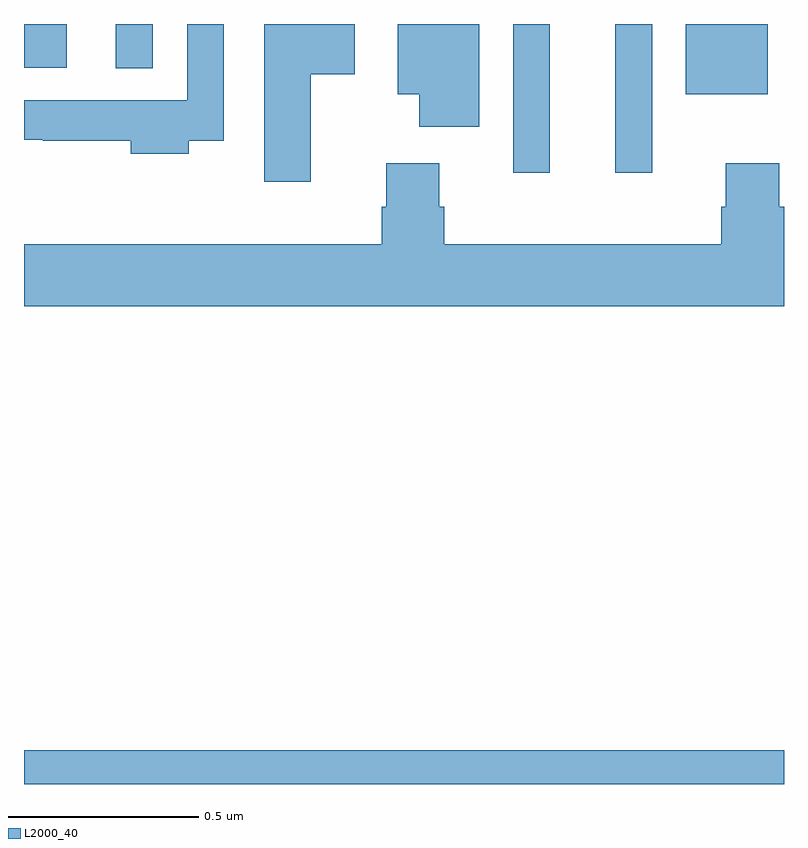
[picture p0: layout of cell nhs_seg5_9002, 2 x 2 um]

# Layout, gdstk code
import gdstk
lib = gdstk.Library(unit=1e-6, precision=1e-09)
def R(c, l, rs):  # rectangles x0, y0, x1, y1
    for r in rs: c.add(gdstk.rectangle(r[:2], r[2:], *l))
def P(c, l, *ps):  # polygons
    for p in ps: c.add(gdstk.Polygon(p, *l))
L2000_40 = (2000, 40)

nhs_seg5_9002 = lib.new_cell('nhs_seg5_9002')
R(nhs_seg5_9002, L2000_40, [(228,892.799,230,892.888), (229.287,894.408,229.384,894.799), (229.556,894.408,229.653,894.799), (229.742,894.614,229.957,894.799), (228.242,894.683,228.339,894.799), (228,894.684,228.112,894.799)])
P(nhs_seg5_9002, L2000_40, [(228.754,894.667),(228.871,894.667),(228.871,894.799),(228.632,894.799),(228.632,894.384),(228.754,894.384)],
  [(229.198,894.799),(228.983,894.799),(228.983,894.614),(229.04,894.614),(229.04,894.528),(229.198,894.528)],
  [(228.433,894.492),(228.525,894.492),(228.525,894.799),(228.429,894.799),(228.429,894.598),(228,894.598),(228,894.494),(228.049,894.494),(228.049,894.492),(228.281,894.492),(228.281,894.458),(228.433,894.458)],
  [(230,894.318),(229.987,894.318),(229.987,894.433),(229.847,894.433),(229.847,894.318),(229.835,894.318),(229.835,894.22),(229.106,894.22),(229.106,894.318),(229.093,894.318),(229.093,894.433),(228.953,894.433),(228.953,894.318),(228.941,894.318),(228.941,894.22),(228,894.22),(228,894.056),(230,894.056)])

lib.write_gds('nhs_seg5_9002.gds')
